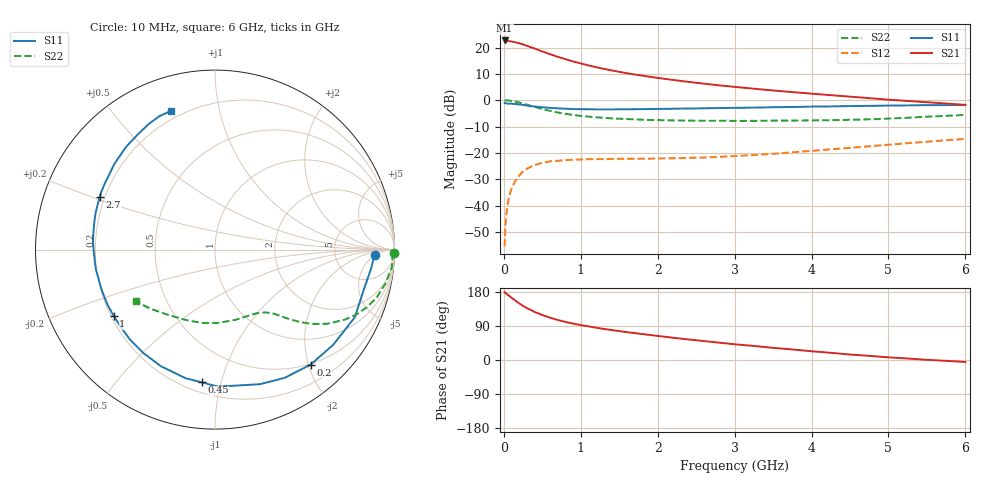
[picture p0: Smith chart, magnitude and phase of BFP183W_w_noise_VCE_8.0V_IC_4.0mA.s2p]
! Infineon Technologies  Discrete & RF Semiconductors
! BFP183W
! VCE =  8.0 V,  IC =  4.0 mA
! Common Emitter S-Parameters:  Jan 2017
# GHz  S  MA  R  50
!  f  S11  S21  S12  S22
! GHz  MAG  ANG  MAG  ANG  MAG  ANG  MAG  ANG
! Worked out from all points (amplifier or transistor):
!   77 points, 10 MHz to 6 GHz, reference 50 ohm
!   highest |S21| = 22.7 dB at 10 MHz (marker M1)
!   |S21| within 3 dB of that: start of sweep to 394.4 MHz
!   unconditionally stable (mu >= 1): 2.387 GHz to 4.424 GHz
!   at 130 MHz: K = 0.07, MSG = 26.9 dB, |S12| = -31.7 dB
!   at 2.2 GHz: K = 0.96, MSG = 14.9 dB, |S12| = -22.0 dB
!   at 6 GHz: K = 0.79, MSG = 6.4 dB, |S12| = -14.7 dB
!   lowest NFmin = 0.73 dB at 450 MHz
!   S11 on the Smith chart (normalised r, x): 10 MHz: 16, -4; 200 MHz: 0.49, -2.04; 450 MHz: 0.26, -0.87; 1 GHz: 0.21, -0.29; 2.7 GHz: 0.18, +0.21; 6 GHz: 0.16, +0.72
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0.01  0.8897 -1.8  13.6 179.3  0.0017 89.2  0.9987 -1.2
0.02  0.8768 -6.6  13.56 176.8  0.004 96.5  0.9896 -2.3
0.04  0.8653 -10.8  13.38 173.8  0.0084 83.6  0.9895 -4.6
0.1  0.8653 -25.9  13.01 164.3  0.021 76.0  0.9692 -11.1
0.15  0.8456 -38.9  12.56 156.7  0.0294 70.2  0.9408 -16.3
0.2  0.8331 -50.3  12.02 149.4  0.0372 64.9  0.9051 -20.8
0.25  0.8133 -61.4  11.45 142.7  0.0447 58.8  0.865 -24.8
0.3  0.7907 -71.5  10.78 136.8  0.0502 53.9  0.8225 -28.3
0.4  0.7637 -88.7  9.569 126.7  0.0589 46.6  0.7458 -33.7
0.45  0.7434 -95.7  8.971 122.9  0.0618 43.4  0.7126 -35.5
0.6  0.7162 -114.9  7.476 111.6  0.0691 35.9  0.6272 -40.2
0.7  0.701 -124.8  6.659 105.7  0.0709 32.5  0.5839 -42.2
0.8  0.6898 -133.4  6.011 100.6  0.0728 31.0  0.5518 -43.8
1  0.6747 -146.8  4.981 92.2  0.075 27.3  0.5036 -46.3
1.1  0.6732 -152.4  4.578 88.7  0.0761 26.0  0.4881 -47.2
1.6  0.6726 -173.8  3.25 73.5  0.0775 25.0  0.4395 -53.1
2.1  0.6852 170.5  2.533 61.2  0.0788 27.7  0.4161 -60.8
2.7  0.7056 155.6  1.984 47.9  0.083 33.3  0.4075 -72.1
3.1  0.7184 147.2  1.734 39.7  0.0888 37.3  0.4053 -80.3
4.1  0.7589 129.6  1.297 21.5  0.1124 44.2  0.4157 -103.0
5.1  0.7935 116.8  1.001 5.8  0.1468 45.4  0.4545 -128.3
6  0.8105 107.6  0.816 -5.3  0.1848 42.2  0.5263 -146.7
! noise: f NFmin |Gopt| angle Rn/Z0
0.45  0.73  0.32  50  0.29
0.9  0.9  0.29  94  0.14
1.9  1.5  0.43  165  0.08
2.4  1.78  0.48  179  0.08
